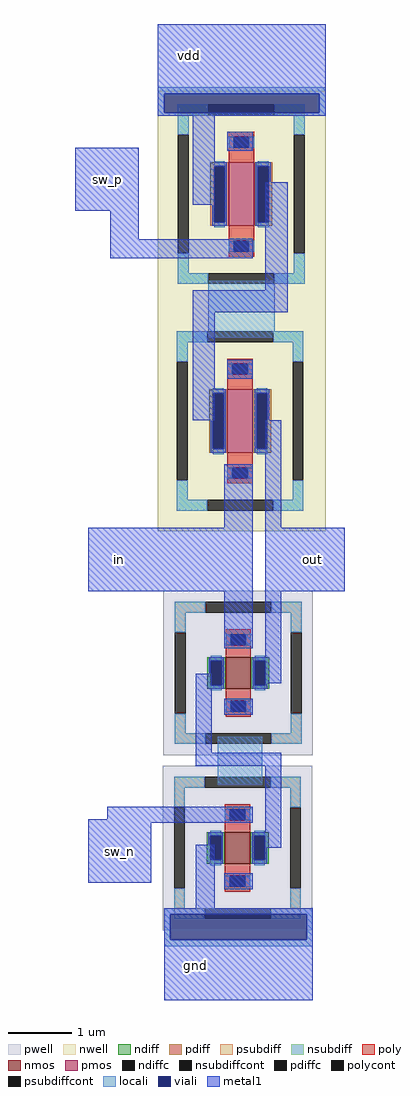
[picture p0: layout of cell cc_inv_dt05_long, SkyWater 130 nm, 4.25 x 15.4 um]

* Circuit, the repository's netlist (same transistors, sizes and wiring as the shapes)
* NGSPICE file created from cc_inv_dt05_long.ext - technology: sky130A

.subckt sky130_fd_pr__nfet_01v8_AXGLWN a_n98_n50# a_n40_n138# a_n200_n224# a_40_n50#
X0 a_40_n50# a_n40_n138# a_n98_n50# a_n200_n224# sky130_fd_pr__nfet_01v8 ad=0.145 pd=1.58 as=0.145 ps=1.58 w=0.5 l=0.4
.ends

.subckt sky130_fd_pr__pfet_01v8_XPYS9A w_n236_n319# a_n40_n197# a_40_n100# a_n98_n100#
X0 a_40_n100# a_n40_n197# a_n98_n100# w_n236_n319# sky130_fd_pr__pfet_01v8 ad=0.29 pd=2.58 as=0.29 ps=2.58 w=1 l=0.4
.ends

.subckt cc_inv_dt05_long vdd out in sw_p sw_n gnd
XXM1 m1_1330_n1440# in gnd out sky130_fd_pr__nfet_01v8_AXGLWN
XXM2 vdd in out m1_1320_n350# sky130_fd_pr__pfet_01v8_XPYS9A
XXM3 vdd sw_p m1_1320_n350# vdd sky130_fd_pr__pfet_01v8_XPYS9A
XXM4 gnd sw_n gnd m1_1330_n1440# sky130_fd_pr__nfet_01v8_AXGLWN
.ends

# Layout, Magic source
magic
tech sky130A
magscale 1 2
<< nwell >>
rect 1210 -700 1740 690
<< locali >>
rect 1210 680 1740 700
rect 1210 620 1230 680
rect 1720 620 1740 680
rect 1210 610 1740 620
rect 1370 -90 1580 90
rect 1400 -1500 1540 -1350
rect 1230 -1910 1700 -1890
rect 1230 -1990 1250 -1910
rect 1680 -1990 1700 -1910
rect 1230 -2010 1700 -1990
<< viali >>
rect 1230 620 1720 680
rect 1250 -1990 1680 -1910
<< metal1 >>
rect 1210 680 1740 900
rect 1210 620 1230 680
rect 1720 620 1740 680
rect 1210 610 1740 620
rect 950 310 1150 510
rect 1320 330 1390 610
rect 1430 500 1510 560
rect 1060 220 1150 310
rect 1060 160 1510 220
rect 1550 60 1620 400
rect 1320 -10 1620 60
rect 1320 -350 1390 -10
rect 1430 -220 1510 -160
rect 1420 -690 1510 -490
rect 990 -890 1510 -690
rect 1420 -1070 1510 -890
rect 1550 -690 1600 -350
rect 1550 -890 1800 -690
rect 1330 -1400 1380 -1150
rect 1550 -1180 1600 -890
rect 1420 -1280 1510 -1230
rect 1330 -1440 1600 -1400
rect 1050 -1610 1510 -1570
rect 990 -1620 1510 -1610
rect 990 -1810 1190 -1620
rect 1330 -1890 1390 -1690
rect 1550 -1700 1600 -1440
rect 1420 -1830 1510 -1780
rect 1230 -1910 1700 -1890
rect 1230 -1990 1250 -1910
rect 1680 -1990 1700 -1910
rect 1230 -2180 1700 -1990
use sky130_fd_pr__nfet_01v8_AXGLWN  XM1
transform 1 0 1464 0 1 -1148
box -236 -260 236 260
use sky130_fd_pr__pfet_01v8_XPYS9A  XM2
transform 1 0 1470 0 1 -353
box -236 -319 236 319
use sky130_fd_pr__pfet_01v8_XPYS9A  XM3
transform 1 0 1474 0 1 363
box -236 -319 236 319
use sky130_fd_pr__nfet_01v8_AXGLWN  XM4
transform 1 0 1462 0 1 -1700
box -236 -260 236 260
<< labels >>
flabel metal1 990 -890 1190 -690 0 FreeSans 256 0 0 0 in
port 2 nsew
flabel metal1 950 310 1150 510 0 FreeSans 256 0 0 0 sw_p
port 3 nsew
flabel metal1 990 -1810 1190 -1610 0 FreeSans 256 0 0 0 sw_n
port 4 nsew
flabel metal1 1230 -2170 1430 -1970 0 FreeSans 256 0 0 0 gnd
port 5 nsew
flabel metal1 1210 700 1410 900 0 FreeSans 256 0 0 0 vdd
port 0 nsew
flabel metal1 1600 -890 1800 -690 0 FreeSans 256 0 0 0 out
port 1 nsew
<< end >>

# cell sky130_fd_pr__nfet_01v8_AXGLWN: kit device sky130_fd_pr__nfet_01v8, w 0.5 l 0.4 m 1 nf 1 diffcov 100 polycov 100 guard 1 glc 1 grc 1 gtc 1 gbc 1 tbcov 100 rlcov 100 topc 1 botc 1 poverlap 0 doverlap 1 lmin 0.15 wmin 0.42 compatible {sky130_fd_pr__nfet_01v8 sky130_fd_pr__nfet_01v8_lvt sky130_fd_bs_flash__special_sonosfet_star sky130_fd_pr__nfet_g5v0d10v5 sky130_fd_pr__nfet_05v0_nvt sky130_fd_pr__nfet_03v3_nvt} full_metal 1 viasrc 100 viadrn 100 viagate 100 viagb 0 viagr 0 viagl 0 viagt 0

# cell sky130_fd_pr__pfet_01v8_XPYS9A: kit device sky130_fd_pr__pfet_01v8, w 1.0 l 0.4 m 1 nf 1 diffcov 100 polycov 100 guard 1 glc 1 grc 1 gtc 1 gbc 1 tbcov 100 rlcov 100 topc 1 botc 1 poverlap 0 doverlap 1 lmin 0.15 wmin 0.42 compatible {sky130_fd_pr__pfet_01v8 sky130_fd_pr__pfet_01v8_lvt sky130_fd_pr__pfet_01v8_hvt sky130_fd_pr__pfet_g5v0d10v5} full_metal 1 viasrc 100 viadrn 100 viagate 100 viagb 0 viagr 0 viagl 0 viagt 0
